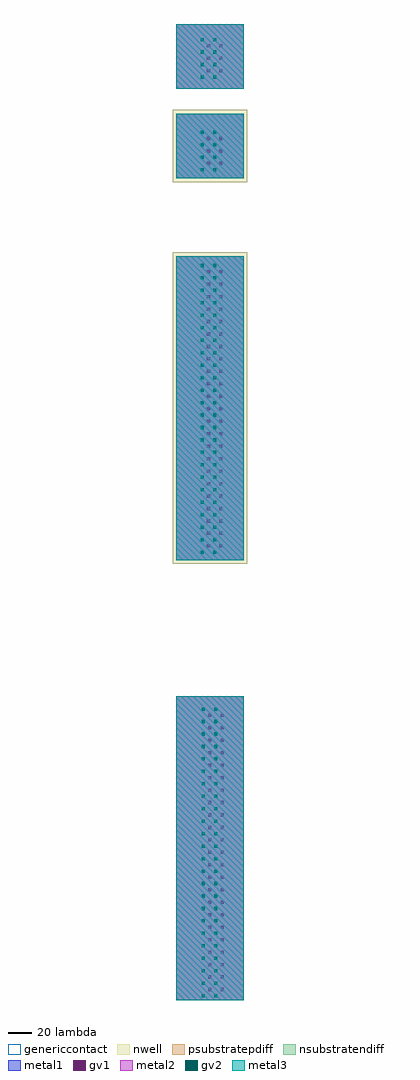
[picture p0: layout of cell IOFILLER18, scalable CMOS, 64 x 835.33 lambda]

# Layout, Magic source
magic
tech scmos
magscale 1 30
<< nwell >>
rect -60 21000 1860 22855
rect -60 11205 1860 19195
<< psubstratepdiff >>
rect 30 23400 1770 25060
rect 30 0 1770 7800
<< nsubstratendiff >>
rect 30 21100 1770 22760
rect 30 11290 1770 19100
<< metal1 >>
rect 30 23400 1770 25060
rect 30 21100 1770 22760
rect 30 11290 1770 19100
rect 30 0 1770 7800
<< metal2 >>
rect 30 23400 1770 25060
rect 30 21100 1770 22760
rect 30 11290 1770 19100
rect 30 0 1770 7800
<< metal3 >>
rect 30 23400 1770 25060
rect 30 21100 1770 22760
rect 30 11290 1770 19100
rect 30 0 1770 7800
use IOFILLER10  IOFILLER10_0 ~/ETRI050_DesignKit/pads_ETRI050/GDS_Magic
transform 1 0 460 0 1 0
box -35 0 1035 25060
<< end >>

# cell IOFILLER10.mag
magic
tech scmos
magscale 1 6
<< nwell >>
rect -7 4201 207 4571
rect -7 2241 207 3839
<< psubstratepdiff >>
rect 20 4680 180 5012
rect 20 0 180 1560
<< nsubstratendiff >>
rect 20 4220 180 4552
rect 20 2260 180 3820
<< metal1 >>
rect 24 4680 176 5012
rect 24 4220 176 4552
rect 24 2260 176 3820
rect 24 0 176 1560
<< metal2 >>
rect 24 4680 176 5012
rect 24 4220 176 4552
rect 24 2260 176 3820
rect 24 0 176 1560
<< metal3 >>
rect 0 4680 200 5012
rect 0 4220 200 4552
rect 0 2260 200 3820
rect 0 0 200 1560
use CONT  CONT_0
array 0 1 64 0 23 64
transform 1 0 54 0 1 22
box -6 -6 6 6
use CONT  CONT_1
array 0 1 64 0 23 64
transform 1 0 48 0 1 2300
box -6 -6 6 6
use CONT  CONT_2
array 0 1 64 0 3 64
transform 1 0 48 0 1 4264
box -6 -6 6 6
use CONT  CONT_3
array 0 1 64 0 3 64
transform 1 0 48 0 1 4740
box -6 -6 6 6
use VIA1  VIA1_0
array 0 1 64 0 22 64
transform 1 0 80 0 1 2332
box -8 -8 8 8
use VIA1  VIA1_1
array 0 1 64 0 22 64
transform 1 0 86 0 1 54
box -8 -8 8 8
use VIA1  VIA1_2
array 0 1 64 0 2 64
transform 1 0 80 0 1 4296
box -8 -8 8 8
use VIA1  VIA1_3
array 0 1 64 0 2 64
transform 1 0 80 0 1 4772
box -8 -8 8 8
use VIA2  VIA2_0
array 0 1 64 0 23 64
transform 1 0 54 0 1 22
box -8 -8 8 8
use VIA2  VIA2_1
array 0 1 64 0 23 64
transform 1 0 48 0 1 2300
box -8 -8 8 8
use VIA2  VIA2_2
array 0 1 64 0 3 64
transform 1 0 48 0 1 4264
box -8 -8 8 8
use VIA2  VIA2_3
array 0 1 64 0 3 64
transform 1 0 48 0 1 4740
box -8 -8 8 8
<< end >>

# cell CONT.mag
magic
tech scmos
<< genericcontact >>
rect -1 -1 1 1
<< end >>

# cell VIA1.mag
magic
tech scmos
magscale 1 3
<< gv1 >>
rect -4 -4 4 4
<< end >>

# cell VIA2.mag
magic
tech scmos
magscale 1 3
<< gv2 >>
rect -4 -4 4 4
<< end >>
